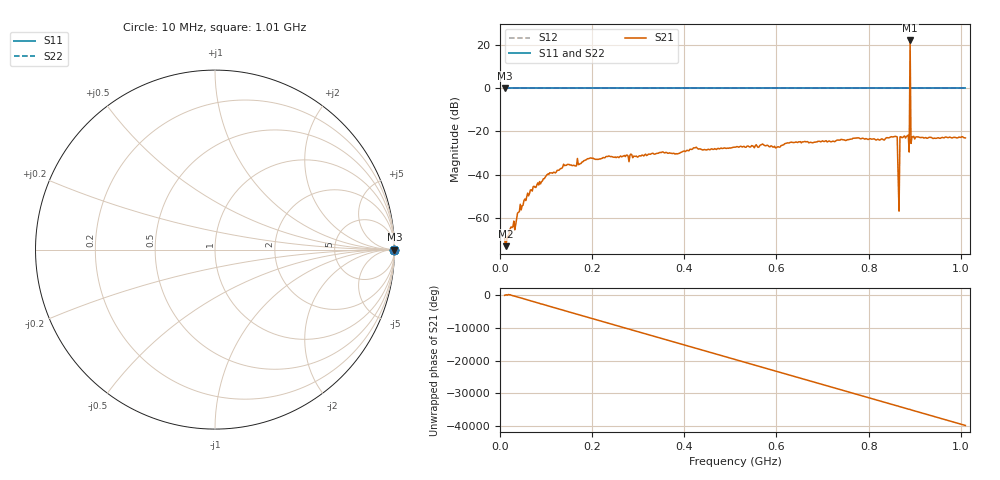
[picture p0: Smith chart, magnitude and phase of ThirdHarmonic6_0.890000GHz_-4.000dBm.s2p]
! 8/16/2025 5:15:02 AM
! C:\ANRITSUVNA\TEMP\TEMP.S2P
! CHANNEL.1
! TR.MEASUREMENT
! RAW.DATA
! RF.CORRECTION.OFF
! AVERAGING.OFF
! IF.BANDWIDTH: 5KHZ
! SWEEPTYPE:  FREQ.SWEEP(Linear)
! Reference Plane Port Info
! PORT:  PORT1  PORT2
! DISTANCE:  0  m  0  m
! TIME:  0  s  0  s
! PHASE.OFFSET:  0  deg.  0  deg.
! LOSS:  0  dB  0  dB
! REF.LOSS:  0  dB  0  dB
! REF.FREQ:  0  Hz  0  Hz
! Power Info
! POWER:  -20  dBm  -20  dBm
! EFF.POWER:  -20  dBm  -20  dBm
! SOURCE.ATTEN:  0  dB  0  dB
! TEST.ATTEN:  0  dB  0  dB
# GHZ S RI R 50.0
! FREQ.GHZ  S11RE  S11IM  S21RE  S21IM  S12RE  S12IM  S22RE  S22IM
!; PortSelection: Port_12
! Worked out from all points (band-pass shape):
!   501 points, 10 MHz to 1.01 GHz, reference 50 ohm
!   highest |S21| = 21.96 dB at 890 MHz (marker M1); lowest = -72.9 dB at 12 MHz (marker M2)
!   |S21| within 3 dB of the highest: 889.8834 MHz to 890.1264 MHz (243 kHz wide, 0.0273 % of centre)
!   lowest |S11| = 0.0 dB at 10 MHz (marker M3)
!   |S11| at or under -10 dB: nowhere
!   |S22| runs from 0.0 to 0.0 dB; largest |S21 - S12| = 12
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0.01  1 0  -3.11e-05 -0.00034  1 0  1 0
0.012  1 0  0.000211 8.12e-05  1 0  1 0
0.07  1 0  -0.000782 -0.00413  1 0  1 0
0.106  1 0  -0.0072 -0.00735  1 0  1 0
0.178  1 0  -0.0191 -0.00474  1 0  1 0
0.344  1 0  0.0311 -0.00496  1 0  1 0
0.51  1 0  -0.0418 0.0119  1 0  1 0
0.678  1 0  -0.0182 -0.0517  1 0  1 0
0.844  1 0  0.0424 0.0573  1 0  1 0
0.858  1 0  -0.0694 -0.0334  1 0  1 0
0.86  1 0  -0.0438 0.0621  1 0  1 0
0.862  1 0  0.0524 0.053  1 0  1 0
0.864  1 0  0.00889 0.00202  1 0  1 0
0.868  1 0  -0.0712 0.0228  1 0  1 0
0.87  1 0  0.0126 0.0745  1 0  1 0
0.872  1 0  0.072 0.000872  1 0  1 0
0.884  1 0  -0.0398 -0.0685  1 0  1 0
0.886  1 0  -0.076 0.031  1 0  1 0
0.89  1 0  6.939 10.43  1 0  1 0
0.894  1 0  -0.0715 -0.0165  1 0  1 0
0.896  1 0  -0.0296 0.07  1 0  1 0
1.01  1 0  -0.065 -0.0281  1 0  1 0
